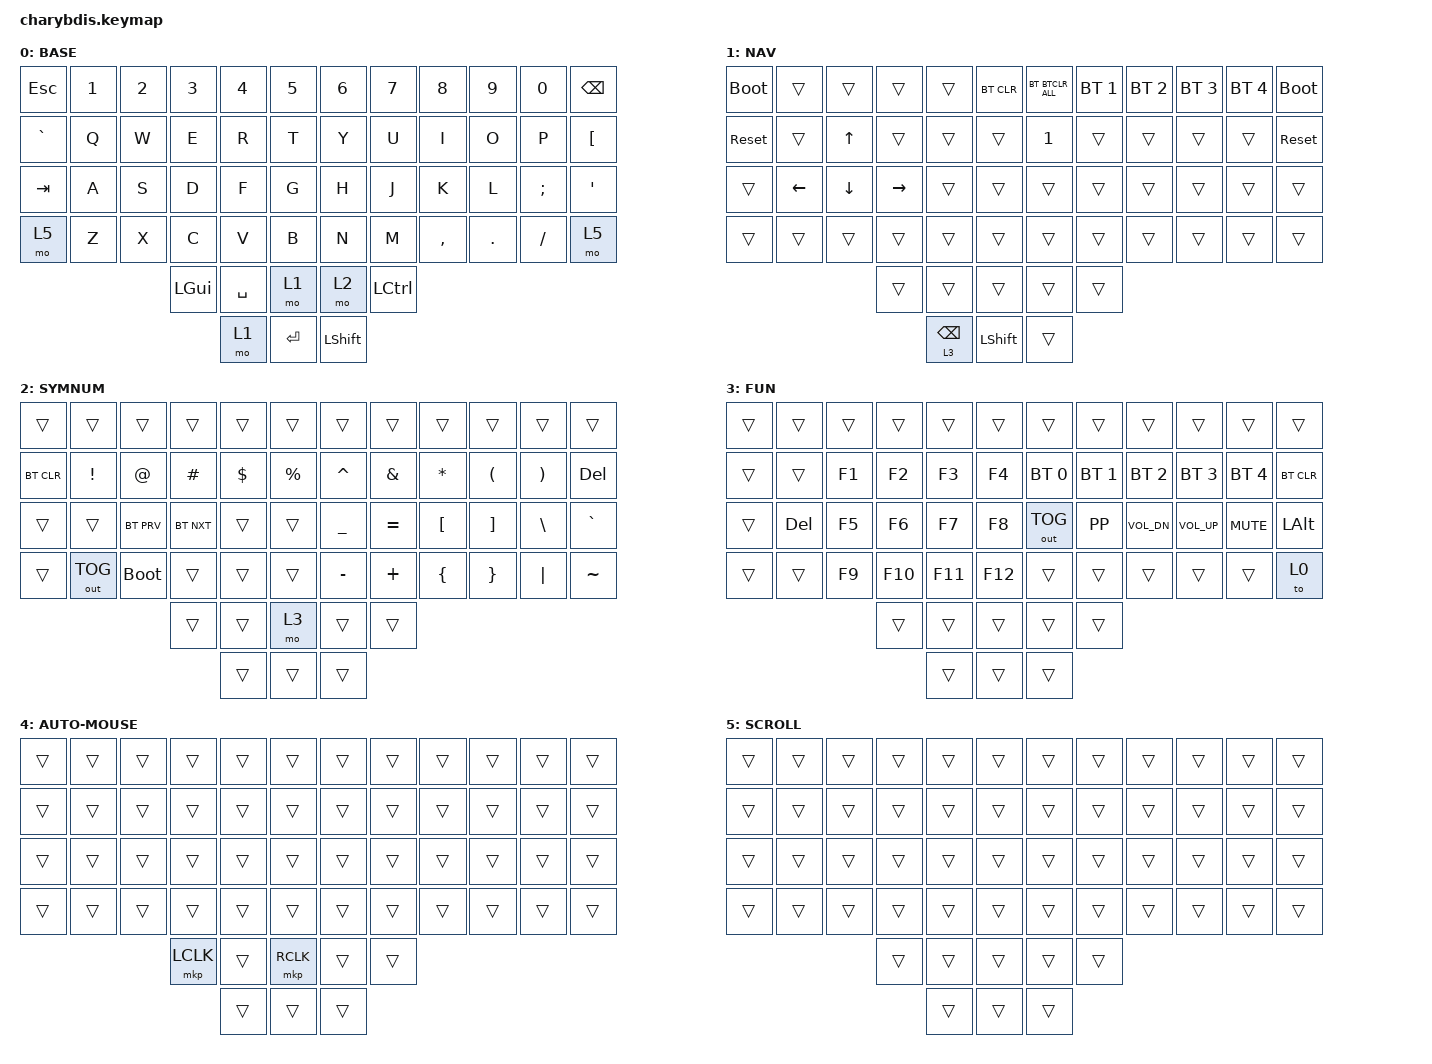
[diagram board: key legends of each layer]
#include <behaviors/mouse_keys.dtsi>
#include <behaviors.dtsi>
#include <dt-bindings/zmk/bt.h>
#include <dt-bindings/zmk/keys.h>
#include <dt-bindings/zmk/mouse.h>
#include <dt-bindings/zmk/outputs.h>

#define U_TAPPING_TERM 200

/ {
    chosen { zmk,matrix_transform = &default_transform; };
};

/ {
    combos {
        compatible = "zmk,combos";

        LeftClickRight {
            bindings = <&mkp LCLK>;
            key-positions = <19 20>;
        };

        RightClickRight {
            bindings = <&mkp RCLK>;
            key-positions = <20 21>;
        };

        MiddleClickRight {
            bindings = <&mkp MCLK>;
            key-positions = <21 22>;
        };

        ParaLeft {
            bindings = <&kp LEFT_PARENTHESIS>;
            key-positions = <4 16>;
        };

        ParaRight {
            bindings = <&kp RIGHT_PARENTHESIS>;
            key-positions = <7 19>;
        };

        BrakLeft {
            bindings = <&kp LEFT_BRACKET>;
            key-positions = <3 15>;
        };

        BrakRight {
            bindings = <&kp RIGHT_BRACKET>;
            key-positions = <8 20>;
        };

        BraceLeft {
            bindings = <&kp LEFT_BRACE>;
            key-positions = <2 14>;
        };

        BraceRight {
            bindings = <&kp RIGHT_BRACE>;
            key-positions = <9 21>;
        };

        Delete {
            bindings = <&kp DELETE>;
            key-positions = <8 9>;
        };

        CapsWord {
            bindings = <&caps_word>;
            key-positions = <17 18>;
        };
    };

    behaviors {
        u_mt: u_mt {
            compatible = "zmk,behavior-hold-tap";
            label = "u_mt";
            #binding-cells = <2>;
            tapping_term_ms = <U_TAPPING_TERM>;
            flavor = "tap-preferred";
            bindings = <&kp>, <&kp>;
        };

        u_lt: u_lt {
            compatible = "zmk,behavior-hold-tap";
            label = "u_lt";
            #binding-cells = <2>;
            tapping_term_ms = <U_TAPPING_TERM>;
            flavor = "tap-preferred";
            bindings = <&mo>, <&kp>;
        };

        Shift_Enter: Shift_Enter {
            compatible = "zmk,behavior-hold-tap";
            label = "SHIFT_ENTER";
            bindings = <&kp>, <&kp>;

            #binding-cells = <2>;
            hold-trigger-key-positions = <40>;
            tapping-term-ms = <100>;
        };
    };

    keymap {
        compatible = "zmk,keymap";

        // Base Layer (0)
        BASE {
            bindings = <
// ╭─────────────┬─────────┬─────────┬─────────┬─────────┬─────────╮   ╭─────────┬─────────┬─────────┬─────────┬─────────┬─────────╮
     &kp ESC      &kp N1    &kp N2    &kp N3    &kp N4    &kp N5        &kp N6    &kp N7    &kp N8    &kp N9    &kp N0    &kp BSPC
// ├─────────────┼─────────┼─────────┼─────────┼─────────┼─────────┤   ├─────────┼─────────┼─────────┼─────────┼─────────┼─────────┤
     &kp GRAVE    &kp Q     &kp W     &kp E     &kp R     &kp T         &kp Y     &kp U     &kp I     &kp O     &kp P     &kp LBKT
// ├─────────────┼─────────┼─────────┼─────────┼─────────┼─────────┤   ├─────────┼─────────┼─────────┼─────────┼─────────┼─────────┤
     &kp TAB      &kp A     &kp S     &kp D     &kp F     &kp G         &kp H     &kp J     &kp K     &kp L     &kp SEMI  &kp APOS
// ├─────────────┼─────────┼─────────┼─────────┼─────────┼─────────┤   ├─────────┼─────────┼─────────┼─────────┼─────────┼─────────┤
     &mo 5        &kp Z     &kp X     &kp C     &kp V     &kp B         &kp N     &kp M     &kp COMMA &kp DOT   &kp FSLH  &mo 5
// ╰─────────────┴─────────┴─────────┼─────────┼─────────┼─────────┤   ├─────────┼─────────┼─────────┼─────────┴─────────┴─────────╯
                                      &kp LGUI  &kp SPACE &mo 1         &mo 2     &kp LCTRL
//                                   ╰─────────┼─────────┼─────────┤   ├─────────┼─────────┼─────────╯
                                               &mo 1     &kp RET        &kp LSHFT
//                                            ╰─────────┴─────────╯   ╰─────────┴─────────╯
            >;
        };

        // Navigation Layer (1)
        NAV {
            bindings = <
// ╭─────────────┬─────────┬─────────┬─────────┬─────────┬─────────╮   ╭─────────┬─────────┬─────────┬─────────┬─────────┬─────────╮
     &bootloader   &trans    &trans    &trans    &trans    &bt BT_CLR    &bt BTCLR_ALL &bt BT_SEL 1 &bt BT_SEL 2 &bt BT_SEL 3 &bt BT_SEL 4 &bootloader
// ├─────────────┼─────────┼─────────┼─────────┼─────────┼─────────┤   ├─────────┼─────────┼─────────┼─────────┼─────────┼─────────┤
     &sys_reset    &trans    &kp UP    &trans    &trans    &trans        &kp N1    &trans    &trans    &trans    &trans    &sys_reset
// ├─────────────┼─────────┼─────────┼─────────┼─────────┼─────────┤   ├─────────┼─────────┼─────────┼─────────┼─────────┼─────────┤
     &trans        &kp LEFT  &kp DOWN  &kp RIGHT &trans    &trans        &trans    &trans    &trans    &trans    &trans    &trans
// ├─────────────┼─────────┼─────────┼─────────┼─────────┼─────────┤   ├─────────┼─────────┼─────────┼─────────┼─────────┼─────────┤
     &trans        &trans    &trans    &trans    &trans    &trans        &trans    &trans    &trans    &trans    &trans    &trans
// ╰─────────────┴─────────┴─────────┼─────────┼─────────┼─────────┤   ├─────────┼─────────┼─────────┼─────────┴─────────┴─────────╯
                                      &trans    &trans    &trans         &trans    &trans
//                                   ╰─────────┼─────────┼─────────┤   ├─────────┼─────────┼─────────╯
                                               &lt 3 BSPC &kp LSHFT     &trans
//                                            ╰─────────┴─────────╯   ╰─────────┴─────────╯
            >;
        };

        // Symbols & Numbers Layer (2)
        SYMNUM {
            bindings = <
// ╭─────────────┬─────────┬─────────┬─────────┬─────────┬─────────╮   ╭─────────┬─────────┬─────────┬─────────┬─────────┬─────────╮
     &trans       &trans    &trans    &trans    &trans    &trans        &trans    &trans    &trans    &trans    &trans    &trans
// ├─────────────┼─────────┼─────────┼─────────┼─────────┼─────────┤   ├─────────┼─────────┼─────────┼─────────┼─────────┼─────────┤
     &bt BT_CLR   &kp EXCL  &kp AT    &kp HASH  &kp DLLR  &kp PRCNT    &kp CARET &kp AMPS  &kp STAR  &kp LPAR  &kp RPAR  &kp DEL
// ├─────────────┼─────────┼─────────┼─────────┼─────────┼─────────┤   ├─────────┼─────────┼─────────┼─────────┼─────────┼─────────┤
     &trans       &trans    &bt BT_PRV &bt BT_NXT &trans   &trans       &kp UNDER &kp EQUAL &kp LBKT  &kp RBKT  &kp BSLH  &kp GRAVE
// ├─────────────┼─────────┼─────────┼─────────┼─────────┼─────────┤   ├─────────┼─────────┼─────────┼─────────┼─────────┼─────────┤
     &trans       &out OUT_TOG &bootloader &trans &trans   &trans       &kp MINUS &kp PLUS  &kp LBRC  &kp RBRC  &kp PIPE  &kp TILDE
// ╰─────────────┴─────────┴─────────┼─────────┼─────────┼─────────┤   ├─────────┼─────────┼─────────┼─────────┴─────────┴─────────╯
                                      &trans    &trans    &mo 3         &trans    &trans
//                                   ╰─────────┼─────────┼─────────┤   ├─────────┼─────────┼─────────╯
                                               &trans    &trans        &trans
//                                            ╰─────────┴─────────╯   ╰─────────┴─────────╯
            >;
        };

        // Function Layer (3)
        FUN {
            bindings = <
// ╭─────────────┬─────────┬─────────┬─────────┬─────────┬─────────╮   ╭─────────┬─────────┬─────────┬─────────┬─────────┬─────────╮
     &trans       &trans    &trans    &trans    &trans    &trans        &trans    &trans    &trans    &trans    &trans    &trans
// ├─────────────┼─────────┼─────────┼─────────┼─────────┼─────────┤   ├─────────┼─────────┼─────────┼─────────┼─────────┼─────────┤
     &trans       &trans    &kp F1    &kp F2    &kp F3    &kp F4       &bt BT_SEL 0 &bt BT_SEL 1 &bt BT_SEL 2 &bt BT_SEL 3 &bt BT_SEL 4 &bt BT_CLR
// ├─────────────┼─────────┼─────────┼─────────┼─────────┼─────────┤   ├─────────┼─────────┼─────────┼─────────┼─────────┼─────────┤
     &trans       &kp DEL   &kp F5    &kp F6    &kp F7    &kp F8       &out OUT_TOG &kp K_PP &kp C_VOL_DN &kp C_VOL_UP &kp C_MUTE &kp LALT
// ├─────────────┼─────────┼─────────┼─────────┼─────────┼─────────┤   ├─────────┼─────────┼─────────┼─────────┼─────────┼─────────┤
     &trans       &trans    &kp F9    &kp F10   &kp F11   &kp F12      &trans    &trans    &trans    &trans    &trans    &to 0
// ╰─────────────┴─────────┴─────────┼─────────┼─────────┼─────────┤   ├─────────┼─────────┼─────────┼─────────┴─────────┴─────────╯
                                      &trans    &trans    &trans        &trans    &trans
//                                   ╰─────────┼─────────┼─────────┤   ├─────────┼─────────┼─────────╯
                                               &trans    &trans        &trans
//                                            ╰─────────┴─────────╯   ╰─────────┴─────────╯
            >;
        };

        // Auto-Mouse Layer (4)
        AUTO-MOUSE {
            bindings = <
// ╭─────────────┬─────────┬─────────┬─────────┬─────────┬─────────╮   ╭─────────┬─────────┬─────────┬─────────┬─────────┬─────────╮
     &trans       &trans    &trans    &trans    &trans    &trans        &trans    &trans    &trans    &trans    &trans    &trans
// ├─────────────┼─────────┼─────────┼─────────┼─────────┼─────────┤   ├─────────┼─────────┼─────────┼─────────┼─────────┼─────────┤
     &trans       &trans    &trans    &trans    &trans    &trans        &trans    &trans    &trans    &trans    &trans    &trans
// ├─────────────┼─────────┼─────────┼─────────┼─────────┼─────────┤   ├─────────┼─────────┼─────────┼─────────┼─────────┼─────────┤
     &trans       &trans    &trans    &trans    &trans    &trans        &trans    &trans    &trans    &trans    &trans    &trans
// ├─────────────┼─────────┼─────────┼─────────┼─────────┼─────────┤   ├─────────┼─────────┼─────────┼─────────┼─────────┼─────────┤
     &trans       &trans    &trans    &trans    &trans    &trans        &trans    &trans    &trans    &trans    &trans    &trans
// ╰─────────────┴─────────┴─────────┼─────────┼─────────┼─────────┤   ├─────────┼─────────┼─────────┼─────────┴─────────┴─────────╯
                                      &mkp LCLK &trans    &mkp RCLK     &trans    &trans
//                                   ╰─────────┼─────────┼─────────┤   ├─────────┼─────────┼─────────╯
                                               &trans    &trans        &trans
//                                            ╰─────────┴─────────╯   ╰─────────┴─────────╯
            >;
        };

        // Scroll Layer (5)
        SCROLL {
            bindings = <
// ╭─────────────┬─────────┬─────────┬─────────┬─────────┬─────────╮   ╭─────────┬─────────┬─────────┬─────────┬─────────┬─────────╮
     &trans       &trans    &trans    &trans    &trans    &trans        &trans    &trans    &trans    &trans    &trans    &trans
// ├─────────────┼─────────┼─────────┼─────────┼─────────┼─────────┤   ├─────────┼─────────┼─────────┼─────────┼─────────┼─────────┤
     &trans       &trans    &trans    &trans    &trans    &trans        &trans    &trans    &trans    &trans    &trans    &trans
// ├─────────────┼─────────┼─────────┼─────────┼─────────┼─────────┤   ├─────────┼─────────┼─────────┼─────────┼─────────┼─────────┤
     &trans       &trans    &trans    &trans    &trans    &trans        &trans    &trans    &trans    &trans    &trans    &trans
// ├─────────────┼─────────┼─────────┼─────────┼─────────┼─────────┤   ├─────────┼─────────┼─────────┼─────────┼─────────┼─────────┤
     &trans       &trans    &trans    &trans    &trans    &trans        &trans    &trans    &trans    &trans    &trans    &trans
// ╰─────────────┴─────────┴─────────┼─────────┼─────────┼─────────┤   ├─────────┼─────────┼─────────┼─────────┴─────────┴─────────╯
                                      &trans    &trans    &trans        &trans    &trans
//                                   ╰─────────┼─────────┼─────────┤   ├─────────┼─────────┼─────────╯
                                               &trans    &trans        &trans
//                                            ╰─────────┴─────────╯   ╰─────────┴─────────╯
            >;
        };
    };
};
